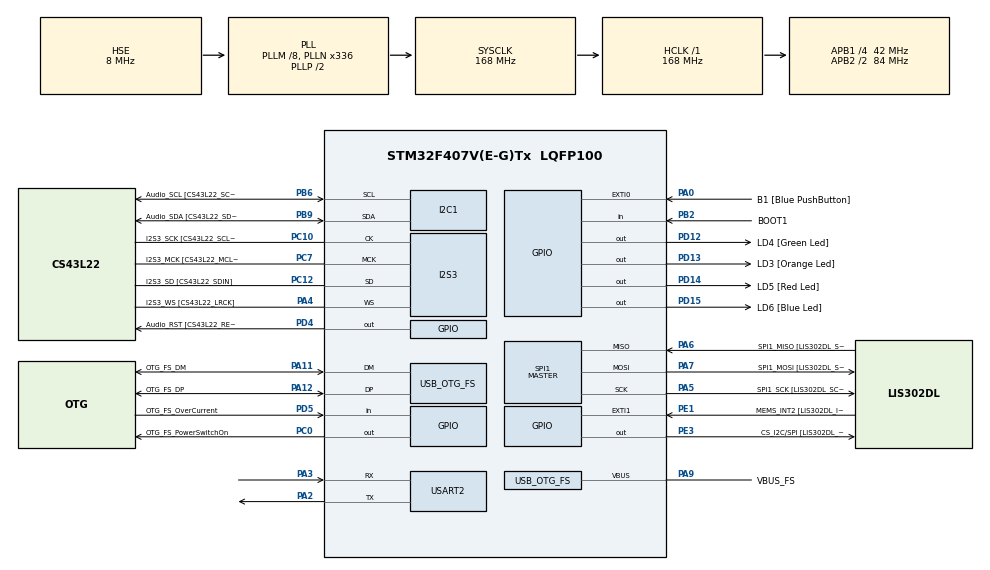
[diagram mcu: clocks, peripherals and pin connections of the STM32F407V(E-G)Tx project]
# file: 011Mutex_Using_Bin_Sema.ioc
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I2S3.AudioFreq-Half_Duplex_Master=I2S_AUDIOFREQ_96K
I2S3.ErrorAudioFreq=-2.34 %
I2S3.ErrorAudioFreq-Half_Duplex_Master=0.8 %
I2S3.FullDuplexMode=I2S_FULLDUPLEXMODE_DISABLE
I2S3.Instance=SPI$Index
I2S3.RealAudioFreq=93.75 KHz
I2S3.RealAudioFreq-Half_Duplex_Master=96.774 KHz
I2S3.VirtualMode=I2S_MODE_MASTER
Mcu.Family=STM32F4
Mcu.Name=STM32F407V(E-G)Tx
Mcu.Package=LQFP100
NVIC.OTG_FS_IRQn=true\:0\:0\:false\:false\:true\:true\:true\:true
NVIC.PriorityGroup=NVIC_PRIORITYGROUP_4
NVIC.TIM6_DAC_IRQn=true\:0\:0\:false\:false\:true\:false\:true\:true
NVIC.TimeBase=TIM6_DAC_IRQn
NVIC.TimeBaseIP=TIM6
PA0-WKUP.GPIO_Label=B1 [Blue PushButton]
PA0-WKUP.GPIO_ModeDefaultEXTI=GPIO_MODE_EVT_RISING
PA0-WKUP.GPIO_PuPd=GPIO_NOPULL
PA0-WKUP.Signal=GPXTI0
PA10.GPIO_Label=OTG_FS_ID
PA10.GPIO_Mode=GPIO_MODE_AF_PP
PA10.GPIO_PuPd=GPIO_NOPULL
PA10.GPIO_Speed=GPIO_SPEED_FREQ_LOW
PA10.Signal=USB_OTG_FS_ID
PA11.GPIO_Label=OTG_FS_DM
PA11.GPIO_Mode=GPIO_MODE_AF_PP
PA11.GPIO_PuPd=GPIO_NOPULL
PA11.GPIO_Speed=GPIO_SPEED_FREQ_LOW
PA11.Mode=Host_Only
PA11.Signal=USB_OTG_FS_DM
PA12.GPIO_Label=OTG_FS_DP
PA12.GPIO_Mode=GPIO_MODE_AF_PP
PA12.GPIO_PuPd=GPIO_NOPULL
PA12.GPIO_Speed=GPIO_SPEED_FREQ_LOW
PA12.Mode=Host_Only
PA12.Signal=USB_OTG_FS_DP
PA13.GPIO_Label=SWDIO
PA13.Mode=Serial_Wire
PA13.Signal=SYS_JTMS-SWDIO
PA14.GPIO_Label=SWCLK
PA14.Mode=Serial_Wire
PA14.Signal=SYS_JTCK-SWCLK
PA2.Mode=Asynchronous
PA2.Signal=USART2_TX
PA3.Mode=Asynchronous
PA3.Signal=USART2_RX
PA4.GPIO_Label=I2S3_WS [CS43L22_LRCK]
PA4.GPIO_Mode=GPIO_MODE_AF_PP
PA4.GPIO_PuPd=GPIO_NOPULL
PA4.GPIO_Speed=GPIO_SPEED_FREQ_LOW
PA4.Mode=Half_Duplex_Master
PA4.Signal=I2S3_WS
PA5.GPIO_Label=SPI1_SCK [LIS302DL_SCL/SPC]
PA5.GPIO_Mode=GPIO_MODE_AF_PP
PA5.GPIO_PuPd=GPIO_NOPULL
PA5.GPIO_Speed=GPIO_SPEED_FREQ_LOW
PA5.Mode=Full_Duplex_Master
PA5.Signal=SPI1_SCK
PA6.GPIO_Label=SPI1_MISO [LIS302DL_SDO]
PA6.GPIO_Mode=GPIO_MODE_AF_PP
PA6.GPIO_PuPd=GPIO_NOPULL
PA6.GPIO_Speed=GPIO_SPEED_FREQ_LOW
PA6.Mode=Full_Duplex_Master
PA6.Signal=SPI1_MISO
PA7.GPIO_Label=SPI1_MOSI [LIS302DL_SDA/SDI/SDO]
PA7.GPIO_Mode=GPIO_MODE_AF_PP
PA7.GPIO_PuPd=GPIO_NOPULL
PA7.GPIO_Speed=GPIO_SPEED_FREQ_LOW
PA7.Mode=Full_Duplex_Master
PA7.Signal=SPI1_MOSI
PA9.GPIO_Label=VBUS_FS
PA9.GPIO_Mode=GPIO_MODE_INPUT
PA9.GPIO_PuPd=GPIO_NOPULL
PA9.Mode=Activate_VBUS
PA9.Signal=USB_OTG_FS_VBUS
PB10.GPIO_Label=CLK_IN [MP45DT02_CLK]
PB10.GPIO_Mode=GPIO_MODE_AF_PP
PB10.GPIO_PuPd=GPIO_NOPULL
PB10.GPIO_Speed=GPIO_SPEED_FREQ_LOW
PB10.Signal=I2S2_CK
PB2.GPIO_Label=BOOT1
PB2.GPIO_Mode=GPIO_MODE_INPUT
PB2.GPIO_PuPd=GPIO_NOPULL
PB2.Signal=GPIO_Input
PB3.GPIO_Label=SWO
PB3.Signal=SYS_JTDO-SWO
PB6.GPIO_Label=Audio_SCL [CS43L22_SCL]
PB6.GPIO_Mode=GPIO_MODE_AF_OD
PB6.GPIO_Pu=GPIO_PULLUP
PB6.GPIO_PuPd=GPIO_NOPULL
PB6.GPIO_Speed=GPIO_SPEED_FREQ_LOW
PB6.Mode=I2C
PB6.Signal=I2C1_SCL
PB9.GPIO_Label=Audio_SDA [CS43L22_SDA]
PB9.GPIO_Mode=GPIO_MODE_AF_OD
PB9.GPIO_Pu=GPIO_PULLUP
PB9.GPIO_PuPd=GPIO_NOPULL
PB9.GPIO_Speed=GPIO_SPEED_FREQ_LOW
PB9.Mode=I2C
PB9.Signal=I2C1_SDA
PC0.GPIO_Label=OTG_FS_PowerSwitchOn
PC0.GPIO_PuPd=GPIO_NOPULL
PC0.GPIO_Speed=GPIO_SPEED_FREQ_LOW
PC0.PinState=GPIO_PIN_SET
PC0.Signal=GPIO_Output
PC10.GPIO_Label=I2S3_SCK [CS43L22_SCLK]
PC10.GPIO_Mode=GPIO_MODE_AF_PP
PC10.GPIO_PuPd=GPIO_NOPULL
PC10.GPIO_Speed=GPIO_SPEED_FREQ_LOW
PC10.Mode=Half_Duplex_Master
PC10.Signal=I2S3_CK
PC12.GPIO_Label=I2S3_SD [CS43L22_SDIN]
PC12.GPIO_Mode=GPIO_MODE_AF_PP
PC12.GPIO_PuPd=GPIO_NOPULL
PC12.GPIO_Speed=GPIO_SPEED_FREQ_LOW
PC12.Mode=Half_Duplex_Master
PC12.Signal=I2S3_SD
PC14-OSC32_IN.GPIO_Label=PC14-OSC32_IN
PC14-OSC32_IN.Mode=LSE-External-Oscillator
PC14-OSC32_IN.Signal=RCC_OSC32_IN
PC15-OSC32_OUT.GPIO_Label=PC15-OSC32_OUT
PC15-OSC32_OUT.Mode=LSE-External-Oscillator
PC15-OSC32_OUT.Signal=RCC_OSC32_OUT
PC3.GPIO_Label=PDM_OUT [MP45DT02_DOUT]
PC3.GPIO_Mode=GPIO_MODE_AF_PP
PC3.GPIO_PuPd=GPIO_NOPULL
PC3.GPIO_Speed=GPIO_SPEED_FREQ_LOW
PC3.Signal=I2S2_SD
PC7.GPIO_Label=I2S3_MCK [CS43L22_MCLK]
PC7.GPIO_Mode=GPIO_MODE_AF_PP
PC7.GPIO_PuPd=GPIO_NOPULL
PC7.GPIO_Speed=GPIO_SPEED_FREQ_LOW
PC7.Mode=Master_Clock_Activated
PC7.Signal=I2S3_MCK
PD12.GPIO_Label=LD4 [Green Led]
PD12.GPIO_PuPd=GPIO_NOPULL
PD12.GPIO_Speed=GPIO_SPEED_FREQ_LOW
PD12.Signal=GPIO_Output
PD13.GPIO_Label=LD3 [Orange Led]
PD13.GPIO_PuPd=GPIO_NOPULL
PD13.GPIO_Speed=GPIO_SPEED_FREQ_LOW
PD13.Signal=GPIO_Output
PD14.GPIO_Label=LD5 [Red Led]
PD14.GPIO_PuPd=GPIO_NOPULL
PD14.GPIO_Speed=GPIO_SPEED_FREQ_LOW
PD14.Signal=GPIO_Output
PD15.GPIO_Label=LD6 [Blue Led]
PD15.GPIO_PuPd=GPIO_NOPULL
PD15.GPIO_Speed=GPIO_SPEED_FREQ_LOW
PD15.Signal=GPIO_Output
PD4.GPIO_Label=Audio_RST [CS43L22_RESET]
PD4.GPIO_PuPd=GPIO_NOPULL
PD4.GPIO_Speed=GPIO_SPEED_FREQ_LOW
PD4.Signal=GPIO_Output
PD5.GPIO_Label=OTG_FS_OverCurrent
PD5.GPIO_Mode=GPIO_MODE_INPUT
PD5.GPIO_PuPd=GPIO_NOPULL
PD5.Signal=GPIO_Input
PE1.GPIO_Label=MEMS_INT2 [LIS302DL_INT2]
PE1.GPIO_ModeDefaultEXTI=GPIO_MODE_EVT_RISING
PE1.GPIO_PuPd=GPIO_NOPULL
PE1.Signal=GPXTI1
PE3.GPIO_Label=CS_I2C/SPI [LIS302DL_CS_I2C/SPI]
PE3.GPIO_PuPd=GPIO_NOPULL
PE3.GPIO_Speed=GPIO_SPEED_FREQ_LOW
PE3.Signal=GPIO_Output
PH0-OSC_IN.GPIO_Label=PH0-OSC_IN
PH0-OSC_IN.Mode=HSE-External-Oscillator
PH0-OSC_IN.Signal=RCC_OSC_IN
PH1-OSC_OUT.GPIO_Label=PH1-OSC_OUT
PH1-OSC_OUT.Mode=HSE-External-Oscillator
PH1-OSC_OUT.Signal=RCC_OSC_OUT
ProjectManager.HeapSize=0x200
ProjectManager.StackSize=0x400
ProjectManager.TargetToolchain=STM32CubeIDE
RCC.48MHZClocksFreq_Value=48000000
RCC.AHBFreq_Value=168000000
RCC.APB1CLKDivider=RCC_HCLK_DIV4
RCC.APB1Freq_Value=42000000
RCC.APB1TimFreq_Value=84000000
RCC.APB2CLKDivider=RCC_HCLK_DIV2
RCC.APB2Freq_Value=84000000
RCC.APB2TimFreq_Value=168000000
RCC.CortexFreq_Value=168000000
RCC.HCLKFreq_Value=168000000
RCC.HSE_VALUE=8000000
RCC.HSI_VALUE=16000000
RCC.PLLM=8
RCC.PLLN=336
RCC.PLLQ=7
RCC.SYSCLKFreq_VALUE=168000000
RCC.SYSCLKSource=RCC_SYSCLKSOURCE_PLLCLK
RCC.VCOOutputFreq_Value=336000000
SPI1.BaudRatePrescaler-Full_Duplex_Master=SPI_BAUDRATEPRESCALER_2
SPI1.CalculateBaudRate-Full_Duplex_Master=42.0 MBits/s
SPI1.Direction=SPI_DIRECTION_2LINES
SPI1.Mode=SPI_MODE_MASTER
SPI1.Mode-Full_Duplex_Master=SPI_MODE_MASTER
SPI1.VirtualType=VM_MASTER
USART2.VirtualMode=VM_ASYNC
USB_HOST.BSP.number=1
USB_HOST.USBH_HandleTypeDef-CDC_FS=hUsbHostFS
USB_HOST.VirtualModeFS=Cdc
USB_HOST0.BSP.STBoard=false
USB_HOST0.BSP.api=Unknown
USB_HOST0.BSP.instance=PC0
USB_HOST0.BSP.ip=GPIO
USB_HOST0.BSP.mode=Output
USB_HOST0.BSP.name=Drive_VBUS_FS
USB_HOST0.BSP.solution=PC0
USB_OTG_FS.VirtualMode=Host_Only
USB_OTG_FS.phy_itface=HCD_PHY_EMBEDDED
VP_SYS_VS_tim6.Mode=TIM6
VP_USB_HOST_VS_USB_HOST_CDC_FS.Mode=CDC_FS
board=STM32F407G-DISC1

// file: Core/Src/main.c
/* USER CODE BEGIN Header */
/**
  ******************************************************************************
  * @file           : main.c
  * @brief          : Main program body
  ******************************************************************************
  * @attention
  *
  * Copyright (c) 2024 STMicroelectronics.
  * All rights reserved.
  *
  * This software is licensed under terms that can be found in the LICENSE file
  * in the root directory of this software component.
  * If no LICENSE file comes with this software, it is provided AS-IS.
  *
  ******************************************************************************
  */
/* USER CODE END Header */
#include "main.h"
#include "usb_host.h"

/* USER CODE BEGIN Includes */
#include <stdio.h>
#include <stdlib.h>
#include <string.h>
#include "FreeRTOS.h"
#include "task.h"
#include "semphr.h"
/* USER CODE END Includes */

I2C_HandleTypeDef hi2c1;

I2S_HandleTypeDef hi2s3;

SPI_HandleTypeDef hspi1;

UART_HandleTypeDef huart2;

void SystemClock_Config(void);
static void MX_GPIO_Init(void);
static void MX_I2C1_Init(void);
static void MX_I2S3_Init(void);
static void MX_SPI1_Init(void);
static void MX_USART2_UART_Init(void);
void MX_USB_HOST_Process(void);

/* USER CODE BEGIN 0 */
char usr_msg[250]={0};
TaskHandle_t xTaskHandle1=NULL;
TaskHandle_t xTaskHandle2=NULL;

/* The task functions. */
void vTask1( void *pvParameters );
void vTask2( void *pvParameters );

//binary semaphore handle
xSemaphoreHandle xBinarySemaphore;
/* USER CODE END 0 */

int main(void)
{

  /* MCU Configuration--------------------------------------------------------*/

  /* Reset of all peripherals, Initializes the Flash interface and the Systick. */
  HAL_Init();

  /* Configure the system clock */
  SystemClock_Config();

  /* Initialize all configured peripherals */
  MX_GPIO_Init();
  MX_I2C1_Init();
  MX_I2S3_Init();
  MX_SPI1_Init();
  MX_USB_HOST_Init();
  MX_USART2_UART_Init();
  /* USER CODE BEGIN 2 */
	//Creating a binary semaphore
	vSemaphoreCreateBinary(xBinarySemaphore);

	if(xBinarySemaphore != NULL)
	{
		/* Create one of the two tasks. */
		xTaskCreate(	vTask1,		/* Pointer to the function that implements the task. */
						"Task 1",	/* Text name for the task.  This is to facilitate debugging only. */
						500,		/* Stack depth in words. */
						NULL,		/* We are not using the task parameter. */
						1,			/* This task will run at priority 1. */
						NULL );		/* We are not using the task handle. */

		/* Create the other task in exactly the same way. */
		xTaskCreate( vTask2, "Task 2", 500, NULL, 1, NULL );

		//makes sema available for the first time
		xSemaphoreGive(xBinarySemaphore);

		/* Start the scheduler so our tasks start executing. */
		vTaskStartScheduler();
	}
	else
	{
		sprintf(usr_msg,"binary semaphore creation failed\r\n");
		printf(usr_msg);

	}
  /* USER CODE END 2 */

  /* Infinite loop */
  while (1)
  {
    MX_USB_HOST_Process();

  }
}

void SystemClock_Config(void)
{
  RCC_OscInitTypeDef RCC_OscInitStruct = {0};
  RCC_ClkInitTypeDef RCC_ClkInitStruct = {0};

  /** Configure the main internal regulator output voltage
  */
  __HAL_RCC_PWR_CLK_ENABLE();
  __HAL_PWR_VOLTAGESCALING_CONFIG(PWR_REGULATOR_VOLTAGE_SCALE1);

  /** Initializes the RCC Oscillators according to the specified parameters
  * in the RCC_OscInitTypeDef structure.
  */
  RCC_OscInitStruct.OscillatorType = RCC_OSCILLATORTYPE_HSE;
  RCC_OscInitStruct.HSEState = RCC_HSE_ON;
  RCC_OscInitStruct.PLL.PLLState = RCC_PLL_ON;
  RCC_OscInitStruct.PLL.PLLSource = RCC_PLLSOURCE_HSE;
  RCC_OscInitStruct.PLL.PLLM = 8;
  RCC_OscInitStruct.PLL.PLLN = 336;
  RCC_OscInitStruct.PLL.PLLP = RCC_PLLP_DIV2;
  RCC_OscInitStruct.PLL.PLLQ = 7;
  if (HAL_RCC_OscConfig(&RCC_OscInitStruct) != HAL_OK)
  {
    Error_Handler();
  }

  /** Initializes the CPU, AHB and APB buses clocks
  */
  RCC_ClkInitStruct.ClockType = RCC_CLOCKTYPE_HCLK|RCC_CLOCKTYPE_SYSCLK
                              |RCC_CLOCKTYPE_PCLK1|RCC_CLOCKTYPE_PCLK2;
  RCC_ClkInitStruct.SYSCLKSource = RCC_SYSCLKSOURCE_PLLCLK;
  RCC_ClkInitStruct.AHBCLKDivider = RCC_SYSCLK_DIV1;
  RCC_ClkInitStruct.APB1CLKDivider = RCC_HCLK_DIV4;
  RCC_ClkInitStruct.APB2CLKDivider = RCC_HCLK_DIV2;

  if (HAL_RCC_ClockConfig(&RCC_ClkInitStruct, FLASH_LATENCY_5) != HAL_OK)
  {
    Error_Handler();
  }
}

static void MX_I2C1_Init(void)
{

  hi2c1.Instance = I2C1;
  hi2c1.Init.ClockSpeed = 100000;
  hi2c1.Init.DutyCycle = I2C_DUTYCYCLE_2;
  hi2c1.Init.OwnAddress1 = 0;
  hi2c1.Init.AddressingMode = I2C_ADDRESSINGMODE_7BIT;
  hi2c1.Init.DualAddressMode = I2C_DUALADDRESS_DISABLE;
  hi2c1.Init.OwnAddress2 = 0;
  hi2c1.Init.GeneralCallMode = I2C_GENERALCALL_DISABLE;
  hi2c1.Init.NoStretchMode = I2C_NOSTRETCH_DISABLE;
  if (HAL_I2C_Init(&hi2c1) != HAL_OK)
  {
    Error_Handler();
  }

}

static void MX_I2S3_Init(void)
{

  hi2s3.Instance = SPI3;
  hi2s3.Init.Mode = I2S_MODE_MASTER_TX;
  hi2s3.Init.Standard = I2S_STANDARD_PHILIPS;
  hi2s3.Init.DataFormat = I2S_DATAFORMAT_16B;
  hi2s3.Init.MCLKOutput = I2S_MCLKOUTPUT_ENABLE;
  hi2s3.Init.AudioFreq = I2S_AUDIOFREQ_96K;
  hi2s3.Init.CPOL = I2S_CPOL_LOW;
  hi2s3.Init.ClockSource = I2S_CLOCK_PLL;
  hi2s3.Init.FullDuplexMode = I2S_FULLDUPLEXMODE_DISABLE;
  if (HAL_I2S_Init(&hi2s3) != HAL_OK)
  {
    Error_Handler();
  }

}

static void MX_SPI1_Init(void)
{

  /* SPI1 parameter configuration*/
  hspi1.Instance = SPI1;
  hspi1.Init.Mode = SPI_MODE_MASTER;
  hspi1.Init.Direction = SPI_DIRECTION_2LINES;
  hspi1.Init.DataSize = SPI_DATASIZE_8BIT;
  hspi1.Init.CLKPolarity = SPI_POLARITY_LOW;
  hspi1.Init.CLKPhase = SPI_PHASE_1EDGE;
  hspi1.Init.NSS = SPI_NSS_SOFT;
  hspi1.Init.BaudRatePrescaler = SPI_BAUDRATEPRESCALER_2;
  hspi1.Init.FirstBit = SPI_FIRSTBIT_MSB;
  hspi1.Init.TIMode = SPI_TIMODE_DISABLE;
  hspi1.Init.CRCCalculation = SPI_CRCCALCULATION_DISABLE;
  hspi1.Init.CRCPolynomial = 10;
  if (HAL_SPI_Init(&hspi1) != HAL_OK)
  {
    Error_Handler();
  }

}

static void MX_USART2_UART_Init(void)
{

  huart2.Instance = USART2;
  huart2.Init.BaudRate = 115200;
  huart2.Init.WordLength = UART_WORDLENGTH_8B;
  huart2.Init.StopBits = UART_STOPBITS_1;
  huart2.Init.Parity = UART_PARITY_NONE;
  huart2.Init.Mode = UART_MODE_TX_RX;
  huart2.Init.HwFlowCtl = UART_HWCONTROL_NONE;
  huart2.Init.OverSampling = UART_OVERSAMPLING_16;
  if (HAL_UART_Init(&huart2) != HAL_OK)
  {
    Error_Handler();
  }

}

static void MX_GPIO_Init(void)
{
  GPIO_InitTypeDef GPIO_InitStruct = {0};

  /* GPIO Ports Clock Enable */
  __HAL_RCC_GPIOE_CLK_ENABLE();
  __HAL_RCC_GPIOC_CLK_ENABLE();
  __HAL_RCC_GPIOH_CLK_ENABLE();
  __HAL_RCC_GPIOA_CLK_ENABLE();
  __HAL_RCC_GPIOB_CLK_ENABLE();
  __HAL_RCC_GPIOD_CLK_ENABLE();

  /*Configure GPIO pin Output Level */
  HAL_GPIO_WritePin(CS_I2C_SPI_GPIO_Port, CS_I2C_SPI_Pin, GPIO_PIN_RESET);

  /*Configure GPIO pin Output Level */
  HAL_GPIO_WritePin(OTG_FS_PowerSwitchOn_GPIO_Port, OTG_FS_PowerSwitchOn_Pin, GPIO_PIN_SET);

  /*Configure GPIO pin Output Level */
  HAL_GPIO_WritePin(GPIOD, LD4_Pin|LD3_Pin|LD5_Pin|LD6_Pin
                          |Audio_RST_Pin, GPIO_PIN_RESET);

  /*Configure GPIO pin : CS_I2C_SPI_Pin */
  GPIO_InitStruct.Pin = CS_I2C_SPI_Pin;
  GPIO_InitStruct.Mode = GPIO_MODE_OUTPUT_PP;
  GPIO_InitStruct.Pull = GPIO_NOPULL;
  GPIO_InitStruct.Speed = GPIO_SPEED_FREQ_LOW;
  HAL_GPIO_Init(CS_I2C_SPI_GPIO_Port, &GPIO_InitStruct);

  /*Configure GPIO pin : OTG_FS_PowerSwitchOn_Pin */
  GPIO_InitStruct.Pin = OTG_FS_PowerSwitchOn_Pin;
  GPIO_InitStruct.Mode = GPIO_MODE_OUTPUT_PP;
  GPIO_InitStruct.Pull = GPIO_NOPULL;
  GPIO_InitStruct.Speed = GPIO_SPEED_FREQ_LOW;
  HAL_GPIO_Init(OTG_FS_PowerSwitchOn_GPIO_Port, &GPIO_InitStruct);

  /*Configure GPIO pin : PDM_OUT_Pin */
  GPIO_InitStruct.Pin = PDM_OUT_Pin;
  GPIO_InitStruct.Mode = GPIO_MODE_AF_PP;
  GPIO_InitStruct.Pull = GPIO_NOPULL;
  GPIO_InitStruct.Speed = GPIO_SPEED_FREQ_LOW;
  GPIO_InitStruct.Alternate = GPIO_AF5_SPI2;
  HAL_GPIO_Init(PDM_OUT_GPIO_Port, &GPIO_InitStruct);

  /*Configure GPIO pin : B1_Pin */
  GPIO_InitStruct.Pin = B1_Pin;
  GPIO_InitStruct.Mode = GPIO_MODE_EVT_RISING;
  GPIO_InitStruct.Pull = GPIO_NOPULL;
  HAL_GPIO_Init(B1_GPIO_Port, &GPIO_InitStruct);

  /*Configure GPIO pin : BOOT1_Pin */
  GPIO_InitStruct.Pin = BOOT1_Pin;
  GPIO_InitStruct.Mode = GPIO_MODE_INPUT;
  GPIO_InitStruct.Pull = GPIO_NOPULL;
  HAL_GPIO_Init(BOOT1_GPIO_Port, &GPIO_InitStruct);

  /*Configure GPIO pin : CLK_IN_Pin */
  GPIO_InitStruct.Pin = CLK_IN_Pin;
  GPIO_InitStruct.Mode = GPIO_MODE_AF_PP;
  GPIO_InitStruct.Pull = GPIO_NOPULL;
  GPIO_InitStruct.Speed = GPIO_SPEED_FREQ_LOW;
  GPIO_InitStruct.Alternate = GPIO_AF5_SPI2;
  HAL_GPIO_Init(CLK_IN_GPIO_Port, &GPIO_InitStruct);

  /*Configure GPIO pins : LD4_Pin LD3_Pin LD5_Pin LD6_Pin
                           Audio_RST_Pin */
  GPIO_InitStruct.Pin = LD4_Pin|LD3_Pin|LD5_Pin|LD6_Pin
                          |Audio_RST_Pin;
  GPIO_InitStruct.Mode = GPIO_MODE_OUTPUT_PP;
  GPIO_InitStruct.Pull = GPIO_NOPULL;
  GPIO_InitStruct.Speed = GPIO_SPEED_FREQ_LOW;
  HAL_GPIO_Init(GPIOD, &GPIO_InitStruct);

  /*Configure GPIO pin : OTG_FS_OverCurrent_Pin */
  GPIO_InitStruct.Pin = OTG_FS_OverCurrent_Pin;
  GPIO_InitStruct.Mode = GPIO_MODE_INPUT;
  GPIO_InitStruct.Pull = GPIO_NOPULL;
  HAL_GPIO_Init(OTG_FS_OverCurrent_GPIO_Port, &GPIO_InitStruct);

  /*Configure GPIO pin : MEMS_INT2_Pin */
  GPIO_InitStruct.Pin = MEMS_INT2_Pin;
  GPIO_InitStruct.Mode = GPIO_MODE_EVT_RISING;
  GPIO_InitStruct.Pull = GPIO_NOPULL;
  HAL_GPIO_Init(MEMS_INT2_GPIO_Port, &GPIO_InitStruct);

}

/* USER CODE BEGIN 4 */
void vTask1( void *pvParameters )
{
	const char *pcTaskName = "Task 1 is running\r\n";

	/* As per most tasks, this task is implemented in an infinite loop. */
	for( ;; )
	{

		//before printing , lets own the semaphore or take the semaphore */
		xSemaphoreTake( xBinarySemaphore, portMAX_DELAY );

		/* Print out the name of this task. */
		sprintf( usr_msg,"%s",pcTaskName);
		printf(usr_msg);

		//give the semaphore here. give operation increases the bin sema value back to 1
		xSemaphoreGive(xBinarySemaphore);

		/*Now this task will be blocked for 500ticks */
		vTaskDelay( pdMS_TO_TICKS(500) );
	}
}
/*-----------------------------------------------------------*/

void vTask2( void *pvParameters )
{

	const char *pcTaskName = "Task 2 is running\r\n";

	/* As per most tasks, this task is implemented in an infinite loop. */
	for( ;; )
	{

		//before printing , lets own the semaphore or take the semaphore */
		xSemaphoreTake( xBinarySemaphore, portMAX_DELAY );

		/* Print out the name of this task. */
		sprintf( usr_msg,"%s",pcTaskName);
		printf(usr_msg);

		//give the semaphore here. give operation increases the bin sema value back to 1
		xSemaphoreGive(xBinarySemaphore);

		/*Now this task will be blocked for 500ticks */
		vTaskDelay( pdMS_TO_TICKS(500));
	}
}

/* USER CODE END 4 */

void HAL_TIM_PeriodElapsedCallback(TIM_HandleTypeDef *htim)
{
  if (htim->Instance == TIM6) {
    HAL_IncTick();
  }
}

void Error_Handler(void)
{
  __disable_irq();
  while (1)
  {
  }
}
